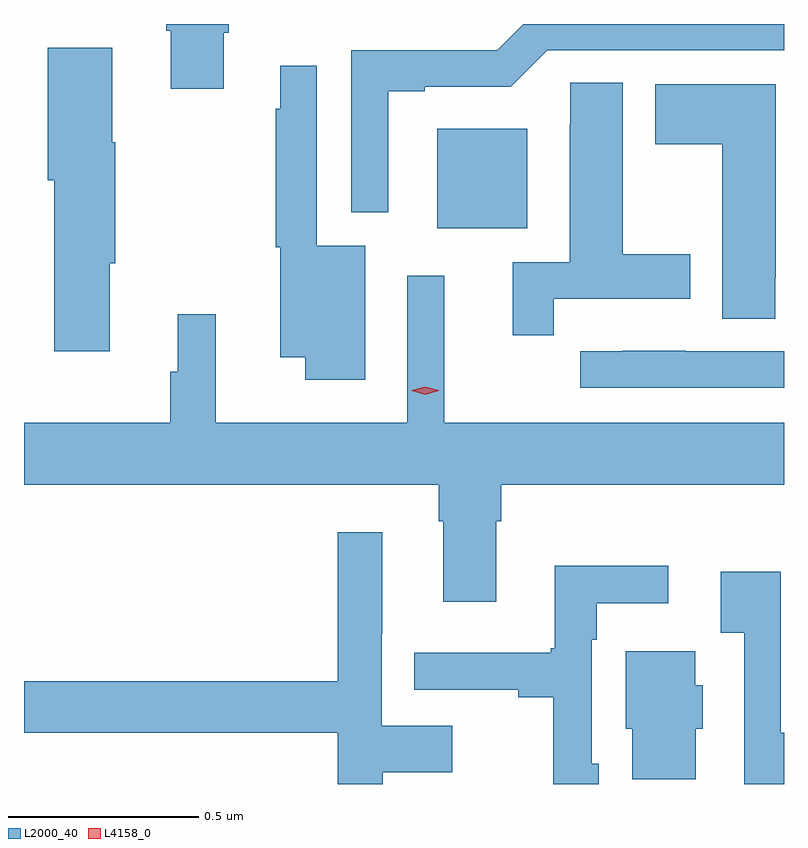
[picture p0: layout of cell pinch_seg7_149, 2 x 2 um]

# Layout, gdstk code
import gdstk
lib = gdstk.Library(unit=1e-6, precision=1e-09)
def R(c, l, rs):  # rectangles x0, y0, x1, y1
    for r in rs: c.add(gdstk.rectangle(r[:2], r[2:], *l))
def P(c, l, *ps):  # polygons
    for p in ps: c.add(gdstk.Polygon(p, *l))
L2000_40 = (2000, 40)
L4158_0 = (4158, 0)

pinch_seg7_149 = lib.new_cell('pinch_seg7_149')
R(pinch_seg7_149, L2000_40, [(1065.902,1019.939,1066.138,1020.202)])
P(pinch_seg7_149, L2000_40, [(1065.34,1020.454),(1065.353,1020.454),(1065.353,1020.477),(1065.188,1020.477),(1065.188,1020.459),(1065.2,1020.459),(1065.2,1020.306),(1065.34,1020.306)],
  [(1065.772,1020.3),(1065.868,1020.3),(1065.868,1020.312),(1066.095,1020.312),(1066.191,1020.408),(1066.814,1020.408),(1066.814,1020.477),(1066.128,1020.477),(1066.059,1020.408),(1065.675,1020.408),(1065.675,1019.982),(1065.772,1019.982)],
  [(1065.04,1019.847),(1065.054,1019.847),(1065.054,1020.166),(1065.046,1020.166),(1065.046,1020.415),(1064.876,1020.415),(1064.876,1020.066),(1064.894,1020.066),(1064.894,1019.616),(1065.04,1019.616)],
  [(1065.712,1019.893),(1065.585,1019.893),(1065.585,1020.367),(1065.488,1020.367),(1065.488,1020.254),(1065.477,1020.254),(1065.477,1019.889),(1065.488,1019.889),(1065.488,1019.6),(1065.554,1019.6),(1065.554,1019.541),(1065.712,1019.541)],
  [(1066.208,1019.754),(1066.567,1019.754),(1066.567,1019.871),(1066.39,1019.871),(1066.39,1020.323),(1066.251,1020.323),(1066.251,1020.212),(1066.25,1020.212),(1066.25,1019.85),(1066.1,1019.85),(1066.1,1019.658),(1066.208,1019.658)],
  [(1066.791,1019.809),(1066.792,1019.809),(1066.792,1020.319),(1066.475,1020.319),(1066.475,1020.16),(1066.652,1020.16),(1066.652,1019.701),(1066.791,1019.701)],
  [(1066.057,1019.168),(1066.07,1019.168),(1066.07,1019.264),(1066.814,1019.264),(1066.814,1019.428),(1065.92,1019.428),(1065.92,1019.815),(1065.822,1019.815),(1065.822,1019.428),(1065.318,1019.428),(1065.318,1019.713),(1065.218,1019.713),(1065.218,1019.562),(1065.199,1019.562),(1065.199,1019.428),(1064.814,1019.428),(1064.814,1019.264),(1065.905,1019.264),(1065.905,1019.168),(1065.917,1019.168),(1065.917,1018.956),(1066.057,1018.956)],
  [(1066.814,1019.616),(1066.556,1019.616),(1066.556,1019.617),(1066.39,1019.617),(1066.39,1019.616),(1066.278,1019.616),(1066.278,1019.52),(1066.814,1019.52)],
  [(1065.758,1018.508),(1065.941,1018.508),(1065.941,1018.63),(1065.756,1018.63),(1065.756,1018.873),(1065.757,1018.873),(1065.757,1019.14),(1065.64,1019.14),(1065.64,1018.748),(1064.814,1018.748),(1064.814,1018.612),(1065.64,1018.612),(1065.64,1018.477),(1065.758,1018.477)],
  [(1066.327,1018.53),(1066.308,1018.53),(1066.308,1018.856),(1066.321,1018.856),(1066.321,1018.953),(1066.51,1018.953),(1066.51,1019.051),(1066.211,1019.051),(1066.211,1018.834),(1066.2,1018.834),(1066.2,1018.822),(1065.841,1018.822),(1065.841,1018.725),(1066.115,1018.725),(1066.115,1018.705),(1066.207,1018.705),(1066.207,1018.477),(1066.327,1018.477)],
  [(1066.814,1018.612),(1066.806,1018.612),(1066.806,1019.035),(1066.647,1019.035),(1066.647,1018.875),(1066.71,1018.875),(1066.71,1018.477),(1066.814,1018.477)],
  [(1066.582,1018.623),(1066.6,1018.623),(1066.6,1018.737),(1066.581,1018.737),(1066.581,1018.827),(1066.397,1018.827),(1066.397,1018.623),(1066.415,1018.623),(1066.415,1018.489),(1066.582,1018.489)])
P(pinch_seg7_149, L4158_0, [(1065.87,1019.502),(1065.835,1019.512),(1065.835,1019.512),(1065.835,1019.513),(1065.87,1019.522),(1065.905,1019.513),(1065.905,1019.512),(1065.905,1019.512)])

lib.write_gds('pinch_seg7_149.gds')
